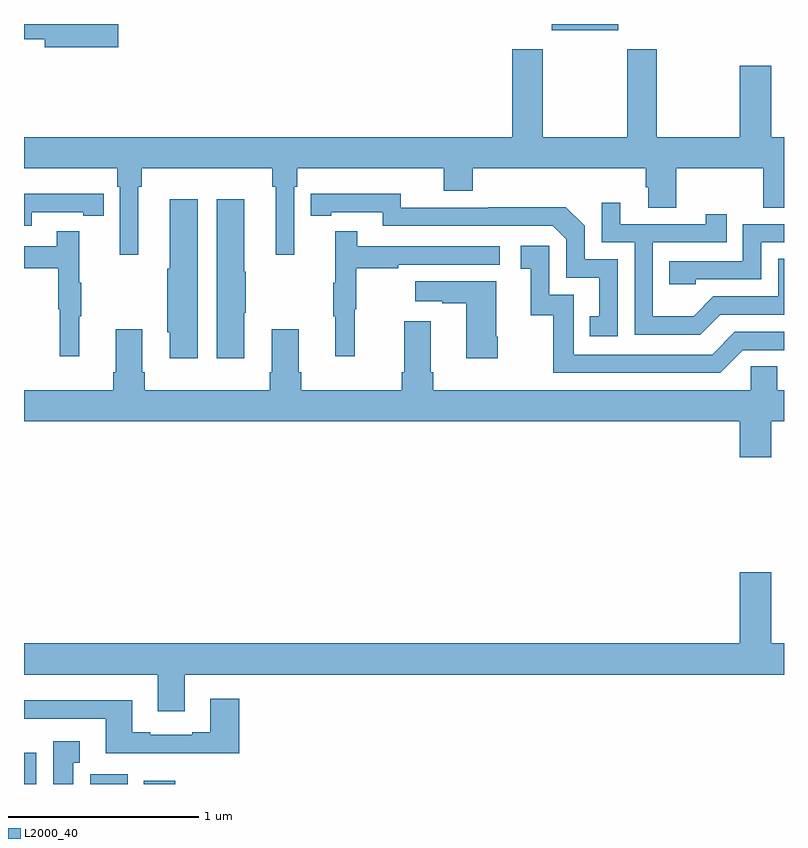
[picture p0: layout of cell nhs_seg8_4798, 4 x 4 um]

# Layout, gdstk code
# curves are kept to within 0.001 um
import gdstk
lib = gdstk.Library(unit=1e-6, precision=1e-09)
def R(c, l, rs):  # rectangles x0, y0, x1, y1
    for r in rs: c.add(gdstk.rectangle(r[:2], r[2:], *l))
def P(c, l, *ps):  # polygons
    for p in ps: c.add(gdstk.Polygon(p, *l))
L2000_40 = (2000, 40)

nhs_seg8_4798 = lib.new_cell('nhs_seg8_4798')
R(nhs_seg8_4798, L2000_40, [(401,1139.9,401.065,1140.064), (401.349,1139.9,401.545,1139.952), (401.63,1139.9,401.797,1139.917), (403.778,1143.866,404.128,1143.9)])
P(nhs_seg8_4798, L2000_40, [(401.497,1143.9),(401,1143.9),(401,1143.82),(401.108,1143.82),(401.108,1143.778),(401.497,1143.778)],
  [(401.602,1143.044),(401.621,1143.044),(401.621,1143.14),(402.307,1143.14),(402.307,1143.044),(402.326,1143.044),(402.326,1142.685),(402.423,1142.685),(402.423,1143.044),(402.437,1143.044),(402.437,1143.14),(403.208,1143.14),(403.208,1143.023),(403.361,1143.023),(403.361,1143.14),(404.273,1143.14),(404.273,1143.042),(404.285,1143.042),(404.285,1142.932),(404.433,1142.932),(404.433,1143.14),(404.89,1143.14),(404.89,1142.932),(405,1142.932),(405,1143.304),(404.932,1143.304),(404.932,1143.679),(404.768,1143.679),(404.768,1143.304),(404.331,1143.304),(404.331,1143.766),(404.176,1143.766),(404.176,1143.304),(403.731,1143.304),(403.731,1143.766),(403.571,1143.766),(403.571,1143.304),(401,1143.304),(401,1143.14),(401.492,1143.14),(401.492,1143.044),(401.505,1143.044),(401.505,1142.685),(401.602,1142.685)],
  [(401.04,1142.91),(401.312,1142.91),(401.312,1142.89),(401.42,1142.89),(401.42,1143.006),(401.312,1143.006),(401.312,1143.007),(401,1143.007),(401,1142.838),(401.04,1142.838)],
  [(404.124,1142.661),(403.95,1142.661),(403.95,1142.838),(403.852,1142.936),(403.444,1142.936),(403.444,1142.934),(402.984,1142.934),(402.984,1143.007),(402.508,1143.006),(402.508,1142.89),(402.616,1142.89),(402.616,1142.91),(402.888,1142.91),(402.888,1142.838),(403.782,1142.838),(403.854,1142.766),(403.854,1142.565),(404.027,1142.565),(404.027,1142.361),(403.978,1142.361),(403.978,1142.256),(404.124,1142.256)],
  [(402.16,1142.38),(402.168,1142.38),(402.168,1142.597),(402.16,1142.597),(402.16,1142.977),(402.014,1142.977),(402.014,1142.142),(402.16,1142.142)],
  [(401.914,1142.977),(401.768,1142.977),(401.768,1142.613),(401.753,1142.613),(401.753,1142.277),(401.768,1142.277),(401.768,1142.142),(401.914,1142.142)],
  [(404.665,1142.37),(405,1142.37),(405,1142.665),(404.97,1142.665),(404.97,1142.466),(404.628,1142.466),(404.524,1142.362),(404.31,1142.362),(404.31,1142.751),(404.699,1142.751),(404.699,1142.899),(404.588,1142.899),(404.588,1142.847),(404.137,1142.847),(404.137,1142.959),(404.04,1142.959),(404.04,1142.751),(404.214,1142.751),(404.214,1142.265),(404.56,1142.265)],
  [(404.535,1142.556),(404.88,1142.556),(404.88,1142.751),(405,1142.751),(405,1142.847),(404.784,1142.847),(404.784,1142.652),(404.395,1142.652),(404.395,1142.529),(404.535,1142.529)],
  [(401.291,1142.363),(401.302,1142.363),(401.302,1142.537),(401.291,1142.537),(401.291,1142.809),(401.173,1142.809),(401.173,1142.73),(401,1142.73),(401,1142.614),(401.181,1142.614),(401.181,1142.4),(401.188,1142.4),(401.188,1142.151),(401.291,1142.151)],
  [(402.74,1142.4),(402.748,1142.4),(402.748,1142.614),(402.971,1142.614),(402.971,1142.634),(403.504,1142.634),(403.504,1142.73),(402.755,1142.73),(402.755,1142.809),(402.638,1142.809),(402.638,1142.537),(402.627,1142.537),(402.627,1142.363),(402.638,1142.363),(402.638,1142.151),(402.74,1142.151)],
  [(404.784,1142.184),(405,1142.184),(405,1142.28),(404.742,1142.28),(404.622,1142.16),(403.893,1142.16),(403.893,1142.475),(403.764,1142.475),(403.764,1142.734),(403.614,1142.734),(403.614,1142.613),(403.667,1142.613),(403.667,1142.367),(403.785,1142.367),(403.785,1142.064),(404.664,1142.064)],
  [(403.494,1142.254),(403.486,1142.254),(403.486,1142.545),(403.059,1142.545),(403.059,1142.441),(403.202,1142.441),(403.202,1142.431),(403.328,1142.431),(403.328,1142.142),(403.494,1142.142)],
  [(404.932,1141.808),(405,1141.808),(405,1141.972),(404.965,1141.972),(404.965,1142.099),(404.826,1142.099),(404.826,1141.972),(403.154,1141.972),(403.154,1142.068),(403.141,1142.068),(403.141,1142.335),(403.001,1142.335),(403.001,1142.068),(402.989,1142.068),(402.989,1141.972),(402.458,1141.972),(402.458,1142.068),(402.445,1142.068),(402.445,1142.293),(402.305,1142.293),(402.305,1142.068),(402.293,1142.068),(402.293,1141.972),(401.636,1141.972),(401.636,1142.068),(401.623,1142.068),(401.623,1142.293),(401.483,1142.293),(401.483,1142.068),(401.471,1142.068),(401.471,1141.972),(401,1141.972),(401,1141.808),(404.768,1141.808),(404.768,1141.62),(404.932,1141.62)],
  [(401.845,1140.476),(405,1140.476),(405,1140.64),(404.932,1140.64),(404.932,1141.015),(404.768,1141.015),(404.768,1140.64),(401,1140.64),(401,1140.476),(401.705,1140.476),(401.705,1140.282),(401.845,1140.282)],
  [(402.134,1140.349),(401.981,1140.349),(401.981,1140.172),(401.885,1140.172),(401.885,1140.159),(401.665,1140.159),(401.665,1140.172),(401.569,1140.172),(401.569,1140.34),(401,1140.34),(401,1140.243),(401.429,1140.243),(401.429,1140.062),(402.134,1140.062)],
  [(401.26,1140.011),(401.293,1140.011),(401.293,1140.124),(401.153,1140.124),(401.153,1139.9),(401.26,1139.9)])

lib.write_gds('nhs_seg8_4798.gds')
